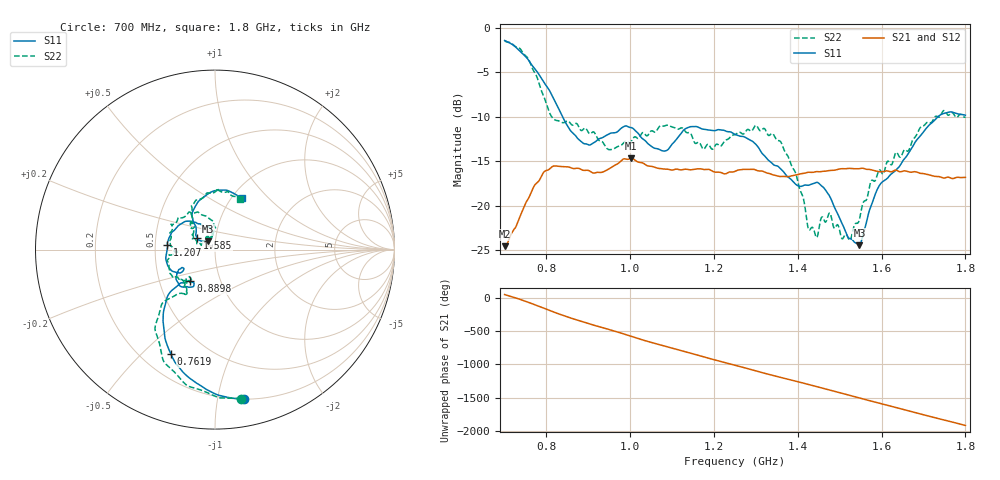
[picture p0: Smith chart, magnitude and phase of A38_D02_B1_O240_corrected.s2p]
! Created with skrf 1.9.0 (http://scikit-rf.org).
# Hz S RI R 50.0
!freq ReS11 ImS11 ReS21 ImS21 ReS12 ImS12 ReS22 ImS22
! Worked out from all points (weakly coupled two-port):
!   1601 points, 700 MHz to 1.8 GHz, reference 50 ohm
!   highest |S21| = -14.67 dB at 1.002 GHz (marker M1); lowest = -24.5 dB at 700 MHz (marker M2)
!   lowest |S11| = -24.4 dB at 1.547 GHz (marker M3), VSWR 1.13, Z = 46.2 + j4.37 ohm
!   |S11| at or under -10 dB: 838.5 MHz to 1.734 GHz (895.8 MHz wide, 69.6 % of centre)
!   |S22| runs from -23.9 to -1.5 dB; largest |S21 - S12| = 0.0034
!   S11 on the Smith chart (normalised r, x): 700 MHz: 0.20, -1.19; 761.9 MHz: 0.32, -0.62; 889.8 MHz: 0.72, -0.27; 1.207 GHz: 0.58, +0.04; 1.585 GHz: 0.81, +0.10; 1.8 GHz: 1.12, +0.71
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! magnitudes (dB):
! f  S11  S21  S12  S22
! 700 MHz  -1.4  -24.5  -24.3  -1.5
! 761.9 MHz  -4.0  -18.7  -18.6  -4.0
! 814.1 MHz  -7.7  -15.6  -15.6  -10.1
! 883.6 MHz  -12.8  -15.9  -15.8  -11.6
! 889.8 MHz  -13.0  -16.0  -16.0  -11.3
! 949.6 MHz  -11.9  -15.8  -15.9  -13.7
! 1.002 GHz  -11.2  -14.7  -14.8  -12.7
! 1.067 GHz  -13.6  -15.8  -15.7  -11.2
! 1.14 GHz  -11.2  -15.9  -15.9  -11.8
! 1.207 GHz  -11.5  -16.2  -16.3  -13.1
! 1.25 GHz  -12.0  -16.1  -16.1  -12.0
! 1.3 GHz  -13.1  -16.0  -16.0  -11.0
! 1.359 GHz  -15.8  -16.7  -16.7  -12.8
! 1.394 GHz  -17.6  -16.6  -16.5  -16.3
! 1.434 GHz  -17.6  -16.3  -16.2  -22.4
! 1.476 GHz  -18.9  -16.0  -16.1  -20.8
! 1.524 GHz  -23.7  -15.8  -15.8  -23.9
! 1.547 GHz  -24.4  -15.8  -15.8  -21.5
! 1.585 GHz  -18.6  -16.1  -16.1  -17.1
! 1.617 GHz  -16.7  -16.1  -16.1  -15.0
! 1.737 GHz  -9.9  -16.7  -16.8  -10.0
! 1.8 GHz  -9.8  -16.8  -16.8  -10.0
